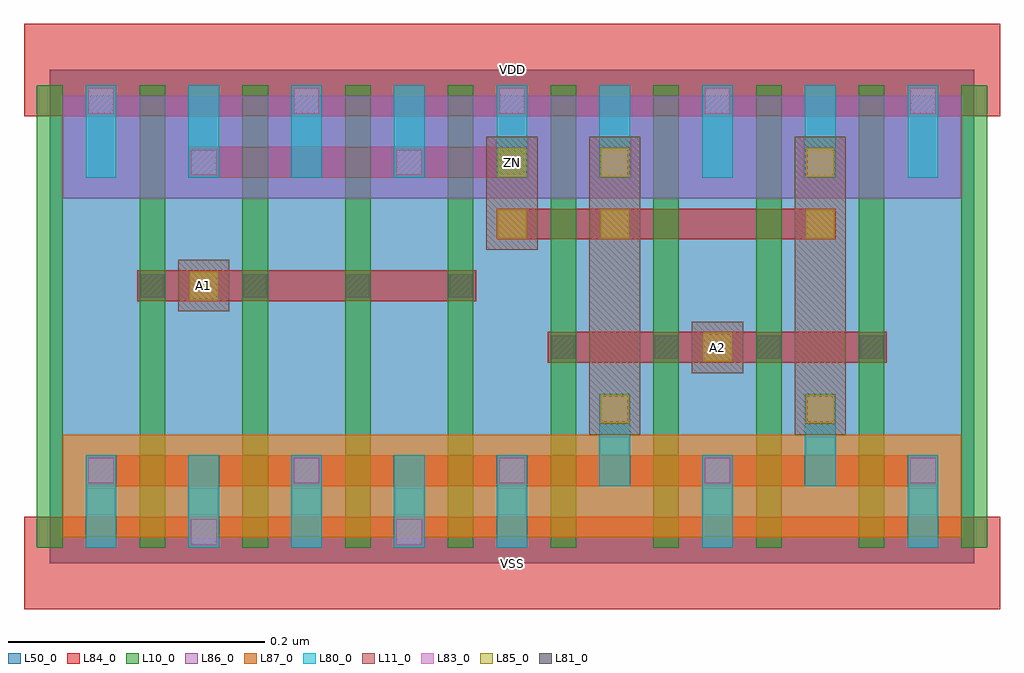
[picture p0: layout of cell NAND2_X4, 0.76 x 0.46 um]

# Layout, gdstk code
import gdstk
lib = gdstk.Library(unit=1e-6, precision=1e-09)
def R(c, l, rs):  # rectangles x0, y0, x1, y1
    for r in rs: c.add(gdstk.rectangle(r[:2], r[2:], *l))
def A(c, l, x, y, w, h, nx, ny, dx, dy):  # array of equal rectangles
    R(c, l, [(x+i*dx, y+j*dy, x+i*dx+w, y+j*dy+h) for i in range(nx) for j in range(ny)])
L10_0 = (10, 0)
L11_0 = (11, 0)
L50_0 = (50, 0)
L80_0 = (80, 0)
L81_0 = (81, 0)
L83_0 = (83, 0)
L84_0 = (84, 0)
L85_0 = (85, 0)
L86_0 = (86, 0)
L87_0 = (87, 0)

nand2_x4 = lib.new_cell('NAND2_X4')
A(nand2_x4, L10_0, -0.01, 0.012, 0.02, 0.36, 10, 1, 0.08, 0)
R(nand2_x4, L11_0, [(0.42,0.1,0.46,0.332), (0.58,0.1,0.62,0.332), (0.5,0.148,0.54,0.188), (0.1,0.196,0.14,0.236), (0.34,0.244,0.38,0.332)])
R(nand2_x4, L50_0, [(0,0,0.72,0.384)])
A(nand2_x4, L80_0, 0.028, 0.012, 0.024, 0.072, 5, 1, 0.08, 0)
A(nand2_x4, L80_0, 0.028, 0.3, 0.024, 0.072, 9, 1, 0.08, 0)
R(nand2_x4, L80_0, [(0.508,0.012,0.532,0.084), (0.668,0.012,0.692,0.084), (0.428,0.06,0.452,0.132), (0.588,0.06,0.612,0.132)])
A(nand2_x4, L81_0, 0.391, 0.159, 0.018, 0.018, 4, 1, 0.08, 0)
A(nand2_x4, L81_0, 0.071, 0.207, 0.018, 0.018, 4, 1, 0.08, 0)
A(nand2_x4, L83_0, 0.03, 0.062, 0.02, 0.02, 5, 2, 0.16, 0.288)
A(nand2_x4, L83_0, 0.11, 0.302, 0.02, 0.02, 4, 1, 0.16, 0)
R(nand2_x4, L83_0, [(0.11,0.014,0.13,0.034), (0.27,0.014,0.29,0.034), (0.43,0.11,0.45,0.13), (0.59,0.11,0.61,0.13)])
R(nand2_x4, L84_0, [(-0.02,-0.036,0.74,0.036), (0.028,0.06,0.692,0.084), (0.428,0.108,0.452,0.132), (0.588,0.108,0.612,0.132), (0.388,0.156,0.652,0.18), (0.068,0.204,0.332,0.228), (0.348,0.252,0.612,0.276), (0.108,0.3,0.372,0.324), (0.428,0.3,0.452,0.324), (0.588,0.3,0.612,0.324), (-0.02,0.348,0.74,0.42)])
R(nand2_x4, L85_0, [(0.429,0.109,0.451,0.131), (0.589,0.109,0.611,0.131), (0.509,0.157,0.531,0.179), (0.109,0.205,0.131,0.227), (0.349,0.253,0.371,0.275), (0.429,0.253,0.451,0.275), (0.589,0.253,0.611,0.275), (0.349,0.301,0.371,0.323), (0.429,0.301,0.451,0.323), (0.589,0.301,0.611,0.323)])
R(nand2_x4, L86_0, [(0.01,0.284,0.71,0.364)])
R(nand2_x4, L87_0, [(0.01,0.02,0.71,0.1)])
nand2_x4.add(gdstk.Label('VDD', (0.36,0.384), layer=88, texttype=0))
nand2_x4.add(gdstk.Label('VSS', (0.36,0), layer=88, texttype=0))
nand2_x4.add(gdstk.Label('ZN', (0.36,0.312), layer=31, texttype=0))
nand2_x4.add(gdstk.Label('A2', (0.52,0.168), layer=31, texttype=0))
nand2_x4.add(gdstk.Label('A1', (0.12,0.216), layer=31, texttype=0))

lib.write_gds('NAND2_X4.gds')
